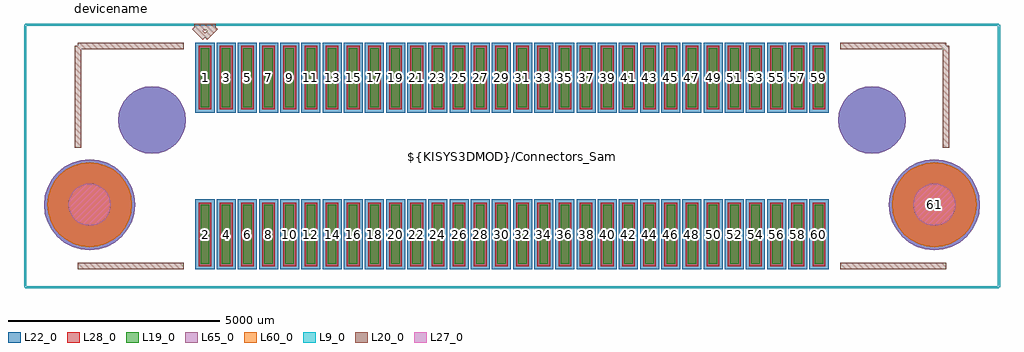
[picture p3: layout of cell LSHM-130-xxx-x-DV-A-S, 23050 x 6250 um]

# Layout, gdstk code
import gdstk
lib = gdstk.Library(unit=1e-6, precision=1e-09)
def R(c, l, rs):  # rectangles x0, y0, x1, y1
    for r in rs: c.add(gdstk.rectangle(r[:2], r[2:], *l))
def A(c, l, x, y, w, h, nx, ny, dx, dy):  # array of equal rectangles
    R(c, l, [(x+i*dx, y+j*dy, x+i*dx+w, y+j*dy+h) for i in range(nx) for j in range(ny)])
def P(c, l, *ps):  # polygons
    for p in ps: c.add(gdstk.Polygon(p, *l))
L9_0 = (9, 0)
L19_0 = (19, 0)
L20_0 = (20, 0)
L22_0 = (22, 0)
L27_0 = (27, 0)
L28_0 = (28, 0)
L60_0 = (60, 0)
L65_0 = (65, 0)

lshm_130_xxx_x_dv_a_s = lib.new_cell('LSHM-130-xxx-x-DV-A-S')
A(lshm_130_xxx_x_dv_a_s, L19_0, -7350, -2550, 200, 1400, 30, 2, 500, 3700)
A(lshm_130_xxx_x_dv_a_s, L22_0, -7475, -2675, 450, 1650, 30, 2, 500, 3700)
P(lshm_130_xxx_x_dv_a_s, L22_0, [(-7700,850),(-7715.372,1006.072),(-7760.896,1156.147),(-7834.824,1294.456),(-7934.315,1415.685),(-8055.544,1515.176),(-8193.853,1589.104),(-8343.928,1634.628),(-8500,1650),(-8656.072,1634.628),(-8806.147,1589.104),(-8944.456,1515.176),(-9065.685,1415.685),(-9165.176,1294.456),(-9239.104,1156.147),(-9284.628,1006.072),(-9300,850),(-9284.628,693.928),(-9239.104,543.853),(-9165.176,405.544),(-9065.685,284.315),(-8944.456,184.824),(-8806.147,110.896),(-8656.072,65.372),(-8500,50),(-8343.928,65.372),(-8193.853,110.896),(-8055.544,184.824),(-7934.315,284.315),(-7834.824,405.544),(-7760.896,543.853),(-7715.372,693.928)],
  [(-8900,-1150),(-8920.656,-940.278),(-8981.83,-738.615),(-9081.17,-552.762),(-9214.86,-389.86),(-9377.762,-256.17),(-9563.615,-156.83),(-9765.278,-95.656),(-9975,-75),(-10184.722,-95.656),(-10386.385,-156.83),(-10572.238,-256.17),(-10735.14,-389.86),(-10868.83,-552.762),(-10968.17,-738.615),(-11029.344,-940.278),(-11050,-1150),(-11029.344,-1359.722),(-10968.17,-1561.385),(-10868.83,-1747.238),(-10735.14,-1910.14),(-10572.238,-2043.83),(-10386.385,-2143.17),(-10184.722,-2204.344),(-9975,-2225),(-9765.278,-2204.344),(-9563.615,-2143.17),(-9377.762,-2043.83),(-9214.86,-1910.14),(-9081.17,-1747.238),(-8981.83,-1561.385),(-8920.656,-1359.722)],
  [(9300,850),(9284.628,1006.072),(9239.104,1156.147),(9165.176,1294.456),(9065.685,1415.685),(8944.456,1515.176),(8806.147,1589.104),(8656.072,1634.628),(8500,1650),(8343.928,1634.628),(8193.853,1589.104),(8055.544,1515.176),(7934.315,1415.685),(7834.824,1294.456),(7760.896,1156.147),(7715.372,1006.072),(7700,850),(7715.372,693.928),(7760.896,543.853),(7834.824,405.544),(7934.315,284.315),(8055.544,184.824),(8193.853,110.896),(8343.928,65.372),(8500,50),(8656.072,65.372),(8806.147,110.896),(8944.456,184.824),(9065.685,284.315),(9165.176,405.544),(9239.104,543.853),(9284.628,693.928)],
  [(11050,-1150),(11029.344,-940.278),(10968.17,-738.615),(10868.83,-552.762),(10735.14,-389.86),(10572.238,-256.17),(10386.385,-156.83),(10184.722,-95.656),(9975,-75),(9765.278,-95.656),(9563.615,-156.83),(9377.762,-256.17),(9214.86,-389.86),(9081.17,-552.762),(8981.83,-738.615),(8920.656,-940.278),(8900,-1150),(8920.656,-1359.722),(8981.83,-1561.385),(9081.17,-1747.238),(9214.86,-1910.14),(9377.762,-2043.83),(9563.615,-2143.17),(9765.278,-2204.344),(9975,-2225),(10184.722,-2204.344),(10386.385,-2143.17),(10572.238,-2043.83),(10735.14,-1910.14),(10868.83,-1747.238),(10968.17,-1561.385),(11029.344,-1359.722)])
P(lshm_130_xxx_x_dv_a_s, L27_0, [(-9475.001,-1150),(-9484.608,-1052.455),(-9513.061,-958.659),(-9559.266,-872.215),(-9621.447,-796.447),(-9697.215,-734.266),(-9783.659,-688.061),(-9877.455,-659.608),(-9975,-650.001),(-10072.545,-659.608),(-10166.341,-688.061),(-10252.785,-734.266),(-10328.553,-796.447),(-10390.734,-872.215),(-10436.939,-958.659),(-10465.392,-1052.455),(-10474.999,-1150),(-10465.392,-1247.545),(-10436.939,-1341.341),(-10390.734,-1427.785),(-10328.553,-1503.553),(-10252.785,-1565.734),(-10166.341,-1611.939),(-10072.545,-1640.392),(-9975,-1649.999),(-9877.455,-1640.392),(-9783.659,-1611.939),(-9697.215,-1565.734),(-9621.447,-1503.553),(-9559.266,-1427.785),(-9513.061,-1341.341),(-9484.608,-1247.545)],
  [(10474.999,-1150),(10465.392,-1052.455),(10436.939,-958.659),(10390.734,-872.215),(10328.553,-796.447),(10252.785,-734.266),(10166.341,-688.061),(10072.545,-659.608),(9975,-650.001),(9877.455,-659.608),(9783.659,-688.061),(9697.215,-734.266),(9621.447,-796.447),(9559.266,-872.215),(9513.061,-958.659),(9484.608,-1052.455),(9475.001,-1150),(9484.608,-1247.545),(9513.061,-1341.341),(9559.266,-1427.785),(9621.447,-1503.553),(9697.215,-1565.734),(9783.659,-1611.939),(9877.455,-1640.392),(9975,-1649.999),(10072.545,-1640.392),(10166.341,-1611.939),(10252.785,-1565.734),(10328.553,-1503.553),(10390.734,-1427.785),(10436.939,-1341.341),(10465.392,-1247.545)])
A(lshm_130_xxx_x_dv_a_s, L28_0, -7400, -2600, 300, 1500, 30, 2, 500, 3700)
P(lshm_130_xxx_x_dv_a_s, L28_0, [(-8975,-1150),(-8994.215,-954.91),(-9051.12,-767.317),(-9143.53,-594.43),(-9267.893,-442.893),(-9419.43,-318.53),(-9592.317,-226.12),(-9779.91,-169.215),(-9975,-150),(-10170.09,-169.215),(-10357.683,-226.12),(-10530.57,-318.53),(-10682.107,-442.893),(-10806.47,-594.43),(-10898.88,-767.317),(-10955.785,-954.91),(-10975,-1150),(-10955.785,-1345.09),(-10898.88,-1532.683),(-10806.47,-1705.57),(-10682.107,-1857.107),(-10530.57,-1981.47),(-10357.683,-2073.88),(-10170.09,-2130.785),(-9975,-2150),(-9779.91,-2130.785),(-9592.317,-2073.88),(-9419.43,-1981.47),(-9267.893,-1857.107),(-9143.53,-1705.57),(-9051.12,-1532.683),(-8994.215,-1345.09)],
  [(10975,-1150),(10955.785,-954.91),(10898.88,-767.317),(10806.47,-594.43),(10682.107,-442.893),(10530.57,-318.53),(10357.683,-226.12),(10170.09,-169.215),(9975,-150),(9779.91,-169.215),(9592.317,-226.12),(9419.43,-318.53),(9267.893,-442.893),(9143.53,-594.43),(9051.12,-767.317),(8994.215,-954.91),(8975,-1150),(8994.215,-1345.09),(9051.12,-1532.683),(9143.53,-1705.57),(9267.893,-1857.107),(9419.43,-1981.47),(9592.317,-2073.88),(9779.91,-2130.785),(9975,-2150),(10170.09,-2130.785),(10357.683,-2073.88),(10530.57,-1981.47),(10682.107,-1857.107),(10806.47,-1705.57),(10898.88,-1532.683),(10955.785,-1345.09)])
P(lshm_130_xxx_x_dv_a_s, L60_0, [(-8975,-1150),(-8994.215,-954.91),(-9051.12,-767.317),(-9143.53,-594.43),(-9267.893,-442.893),(-9419.43,-318.53),(-9592.317,-226.12),(-9779.91,-169.215),(-9975,-150),(-10170.09,-169.215),(-10357.683,-226.12),(-10530.57,-318.53),(-10682.107,-442.893),(-10806.47,-594.43),(-10898.88,-767.317),(-10955.785,-954.91),(-10975,-1150),(-10955.785,-1345.09),(-10898.88,-1532.683),(-10806.47,-1705.57),(-10682.107,-1857.107),(-10530.57,-1981.47),(-10357.683,-2073.88),(-10170.09,-2130.785),(-9975,-2150),(-9779.91,-2130.785),(-9592.317,-2073.88),(-9419.43,-1981.47),(-9267.893,-1857.107),(-9143.53,-1705.57),(-9051.12,-1532.683),(-8994.215,-1345.09)],
  [(10975,-1150),(10955.785,-954.91),(10898.88,-767.317),(10806.47,-594.43),(10682.107,-442.893),(10530.57,-318.53),(10357.683,-226.12),(10170.09,-169.215),(9975,-150),(9779.91,-169.215),(9592.317,-226.12),(9419.43,-318.53),(9267.893,-442.893),(9143.53,-594.43),(9051.12,-767.317),(8994.215,-954.91),(8975,-1150),(8994.215,-1345.09),(9051.12,-1532.683),(9143.53,-1705.57),(9267.893,-1857.107),(9419.43,-1981.47),(9592.317,-2073.88),(9779.91,-2130.785),(9975,-2150),(10170.09,-2130.785),(10357.683,-2073.88),(10530.57,-1981.47),(10682.107,-1857.107),(10806.47,-1705.57),(10898.88,-1532.683),(10955.785,-1345.09)])
P(lshm_130_xxx_x_dv_a_s, L65_0, [(-7700,850),(-7715.372,1006.072),(-7760.896,1156.147),(-7834.824,1294.456),(-7934.315,1415.685),(-8055.544,1515.176),(-8193.853,1589.104),(-8343.928,1634.628),(-8500,1650),(-8656.072,1634.628),(-8806.147,1589.104),(-8944.456,1515.176),(-9065.685,1415.685),(-9165.176,1294.456),(-9239.104,1156.147),(-9284.628,1006.072),(-9300,850),(-9284.628,693.928),(-9239.104,543.853),(-9165.176,405.544),(-9065.685,284.315),(-8944.456,184.824),(-8806.147,110.896),(-8656.072,65.372),(-8500,50),(-8343.928,65.372),(-8193.853,110.896),(-8055.544,184.824),(-7934.315,284.315),(-7834.824,405.544),(-7760.896,543.853),(-7715.372,693.928)],
  [(-8900,-1150),(-8920.656,-940.278),(-8981.83,-738.615),(-9081.17,-552.762),(-9214.86,-389.86),(-9377.762,-256.17),(-9563.615,-156.83),(-9765.278,-95.656),(-9975,-75),(-10184.722,-95.656),(-10386.385,-156.83),(-10572.238,-256.17),(-10735.14,-389.86),(-10868.83,-552.762),(-10968.17,-738.615),(-11029.344,-940.278),(-11050,-1150),(-11029.344,-1359.722),(-10968.17,-1561.385),(-10868.83,-1747.238),(-10735.14,-1910.14),(-10572.238,-2043.83),(-10386.385,-2143.17),(-10184.722,-2204.344),(-9975,-2225),(-9765.278,-2204.344),(-9563.615,-2143.17),(-9377.762,-2043.83),(-9214.86,-1910.14),(-9081.17,-1747.238),(-8981.83,-1561.385),(-8920.656,-1359.722)],
  [(9300,850),(9284.628,1006.072),(9239.104,1156.147),(9165.176,1294.456),(9065.685,1415.685),(8944.456,1515.176),(8806.147,1589.104),(8656.072,1634.628),(8500,1650),(8343.928,1634.628),(8193.853,1589.104),(8055.544,1515.176),(7934.315,1415.685),(7834.824,1294.456),(7760.896,1156.147),(7715.372,1006.072),(7700,850),(7715.372,693.928),(7760.896,543.853),(7834.824,405.544),(7934.315,284.315),(8055.544,184.824),(8193.853,110.896),(8343.928,65.372),(8500,50),(8656.072,65.372),(8806.147,110.896),(8944.456,184.824),(9065.685,284.315),(9165.176,405.544),(9239.104,543.853),(9284.628,693.928)],
  [(11050,-1150),(11029.344,-940.278),(10968.17,-738.615),(10868.83,-552.762),(10735.14,-389.86),(10572.238,-256.17),(10386.385,-156.83),(10184.722,-95.656),(9975,-75),(9765.278,-95.656),(9563.615,-156.83),(9377.762,-256.17),(9214.86,-389.86),(9081.17,-552.762),(8981.83,-738.615),(8920.656,-940.278),(8900,-1150),(8920.656,-1359.722),(8981.83,-1561.385),(9081.17,-1747.238),(9214.86,-1910.14),(9377.762,-2043.83),(9563.615,-2143.17),(9765.278,-2204.344),(9975,-2225),(10184.722,-2204.344),(10386.385,-2143.17),(10572.238,-2043.83),(10735.14,-1910.14),(10868.83,-1747.238),(10968.17,-1561.385),(11029.344,-1359.722)])
lshm_130_xxx_x_dv_a_s.add(gdstk.FlexPath([(10250,-2600),(7750,-2600)], 149.998, ends="flush", simple_path=True, layer=20, datatype=0))  # L20_0
lshm_130_xxx_x_dv_a_s.add(gdstk.FlexPath([(-10250,-2600),(-7750,-2600)], 149.998, ends="flush", simple_path=True, layer=20, datatype=0))  # L20_0
lshm_130_xxx_x_dv_a_s.add(gdstk.FlexPath([(10250,200),(10250,2600)], 149.998, ends="flush", simple_path=True, layer=20, datatype=0))  # L20_0
lshm_130_xxx_x_dv_a_s.add(gdstk.FlexPath([(10250,2600),(7750,2600)], 149.998, ends="flush", simple_path=True, layer=20, datatype=0))  # L20_0
lshm_130_xxx_x_dv_a_s.add(gdstk.FlexPath([(-10250,2600),(-7750,2600)], 149.998, ends="flush", simple_path=True, layer=20, datatype=0))  # L20_0
lshm_130_xxx_x_dv_a_s.add(gdstk.FlexPath([(-10250,200),(-10250,2600)], 149.998, ends="flush", simple_path=True, layer=20, datatype=0))  # L20_0
lshm_130_xxx_x_dv_a_s.add(gdstk.FlexPath([(11500,-3100),(11500,3100)], 50, ends="flush", simple_path=True, layer=9, datatype=0))  # L9_0
lshm_130_xxx_x_dv_a_s.add(gdstk.FlexPath([(-11500,-3100),(-11500,3100)], 50, ends="flush", simple_path=True, layer=9, datatype=0))  # L9_0
lshm_130_xxx_x_dv_a_s.add(gdstk.FlexPath([(-11500,3100),(11500,3100)], 50, ends="flush", simple_path=True, layer=9, datatype=0))  # L9_0
lshm_130_xxx_x_dv_a_s.add(gdstk.FlexPath([(-11500,-3100),(11500,-3100)], 50, ends="flush", simple_path=True, layer=9, datatype=0))  # L9_0
lshm_130_xxx_x_dv_a_s.add(gdstk.FlexPath([(-7250,2800),(-7000,3050)], 149.998, ends="flush", simple_path=True, layer=20, datatype=0))  # L20_0
lshm_130_xxx_x_dv_a_s.add(gdstk.FlexPath([(-7000,3050),(-7500,3050)], 149.998, ends="flush", simple_path=True, layer=20, datatype=0))  # L20_0
lshm_130_xxx_x_dv_a_s.add(gdstk.FlexPath([(-7500,3050),(-7250,2800)], 149.998, ends="flush", simple_path=True, layer=20, datatype=0))  # L20_0
lshm_130_xxx_x_dv_a_s.add(gdstk.Label('${KISYS3DMOD}/Connectors_Samtec.3dshapes/LSHM-130-xxx-x-DV-A-S.wrl', (0,0), layer=12, texttype=0))
lshm_130_xxx_x_dv_a_s.add(gdstk.Label('2', (-7250,-1850), layer=28, texttype=0))
lshm_130_xxx_x_dv_a_s.add(gdstk.Label('1', (-7250,1850), layer=28, texttype=0))
lshm_130_xxx_x_dv_a_s.add(gdstk.Label('3', (-6750,1850), layer=28, texttype=0))
lshm_130_xxx_x_dv_a_s.add(gdstk.Label('4', (-6750,-1850), layer=28, texttype=0))
lshm_130_xxx_x_dv_a_s.add(gdstk.Label('8', (-5750,-1850), layer=28, texttype=0))
lshm_130_xxx_x_dv_a_s.add(gdstk.Label('7', (-5750,1850), layer=28, texttype=0))
lshm_130_xxx_x_dv_a_s.add(gdstk.Label('5', (-6250,1850), layer=28, texttype=0))
lshm_130_xxx_x_dv_a_s.add(gdstk.Label('6', (-6250,-1850), layer=28, texttype=0))
lshm_130_xxx_x_dv_a_s.add(gdstk.Label('14', (-4250,-1850), layer=28, texttype=0))
lshm_130_xxx_x_dv_a_s.add(gdstk.Label('13', (-4250,1850), layer=28, texttype=0))
lshm_130_xxx_x_dv_a_s.add(gdstk.Label('15', (-3750,1850), layer=28, texttype=0))
lshm_130_xxx_x_dv_a_s.add(gdstk.Label('16', (-3750,-1850), layer=28, texttype=0))
lshm_130_xxx_x_dv_a_s.add(gdstk.Label('12', (-4750,-1850), layer=28, texttype=0))
lshm_130_xxx_x_dv_a_s.add(gdstk.Label('11', (-4750,1850), layer=28, texttype=0))
lshm_130_xxx_x_dv_a_s.add(gdstk.Label('9', (-5250,1850), layer=28, texttype=0))
lshm_130_xxx_x_dv_a_s.add(gdstk.Label('10', (-5250,-1850), layer=28, texttype=0))
lshm_130_xxx_x_dv_a_s.add(gdstk.Label('26', (-1250,-1850), layer=28, texttype=0))
lshm_130_xxx_x_dv_a_s.add(gdstk.Label('25', (-1250,1850), layer=28, texttype=0))
lshm_130_xxx_x_dv_a_s.add(gdstk.Label('27', (-750,1850), layer=28, texttype=0))
lshm_130_xxx_x_dv_a_s.add(gdstk.Label('28', (-750,-1850), layer=28, texttype=0))
lshm_130_xxx_x_dv_a_s.add(gdstk.Label('32', (250,-1850), layer=28, texttype=0))
lshm_130_xxx_x_dv_a_s.add(gdstk.Label('31', (250,1850), layer=28, texttype=0))
lshm_130_xxx_x_dv_a_s.add(gdstk.Label('29', (-250,1850), layer=28, texttype=0))
lshm_130_xxx_x_dv_a_s.add(gdstk.Label('30', (-250,-1850), layer=28, texttype=0))
lshm_130_xxx_x_dv_a_s.add(gdstk.Label('22', (-2250,-1850), layer=28, texttype=0))
lshm_130_xxx_x_dv_a_s.add(gdstk.Label('21', (-2250,1850), layer=28, texttype=0))
lshm_130_xxx_x_dv_a_s.add(gdstk.Label('23', (-1750,1850), layer=28, texttype=0))
lshm_130_xxx_x_dv_a_s.add(gdstk.Label('24', (-1750,-1850), layer=28, texttype=0))
lshm_130_xxx_x_dv_a_s.add(gdstk.Label('20', (-2750,-1850), layer=28, texttype=0))
lshm_130_xxx_x_dv_a_s.add(gdstk.Label('19', (-2750,1850), layer=28, texttype=0))
lshm_130_xxx_x_dv_a_s.add(gdstk.Label('17', (-3250,1850), layer=28, texttype=0))
lshm_130_xxx_x_dv_a_s.add(gdstk.Label('18', (-3250,-1850), layer=28, texttype=0))
lshm_130_xxx_x_dv_a_s.add(gdstk.Label('38', (1750,-1850), layer=28, texttype=0))
lshm_130_xxx_x_dv_a_s.add(gdstk.Label('37', (1750,1850), layer=28, texttype=0))
lshm_130_xxx_x_dv_a_s.add(gdstk.Label('39', (2250,1850), layer=28, texttype=0))
lshm_130_xxx_x_dv_a_s.add(gdstk.Label('40', (2250,-1850), layer=28, texttype=0))
lshm_130_xxx_x_dv_a_s.add(gdstk.Label('36', (1250,-1850), layer=28, texttype=0))
lshm_130_xxx_x_dv_a_s.add(gdstk.Label('35', (1250,1850), layer=28, texttype=0))
lshm_130_xxx_x_dv_a_s.add(gdstk.Label('33', (750,1850), layer=28, texttype=0))
lshm_130_xxx_x_dv_a_s.add(gdstk.Label('34', (750,-1850), layer=28, texttype=0))
lshm_130_xxx_x_dv_a_s.add(gdstk.Label('54', (5750,-1850), layer=28, texttype=0))
lshm_130_xxx_x_dv_a_s.add(gdstk.Label('53', (5750,1850), layer=28, texttype=0))
lshm_130_xxx_x_dv_a_s.add(gdstk.Label('55', (6250,1850), layer=28, texttype=0))
lshm_130_xxx_x_dv_a_s.add(gdstk.Label('56', (6250,-1850), layer=28, texttype=0))
lshm_130_xxx_x_dv_a_s.add(gdstk.Label('60', (7250,-1850), layer=28, texttype=0))
lshm_130_xxx_x_dv_a_s.add(gdstk.Label('59', (7250,1850), layer=28, texttype=0))
lshm_130_xxx_x_dv_a_s.add(gdstk.Label('57', (6750,1850), layer=28, texttype=0))
lshm_130_xxx_x_dv_a_s.add(gdstk.Label('58', (6750,-1850), layer=28, texttype=0))
lshm_130_xxx_x_dv_a_s.add(gdstk.Label('44', (3250,-1850), layer=28, texttype=0))
lshm_130_xxx_x_dv_a_s.add(gdstk.Label('43', (3250,1850), layer=28, texttype=0))
lshm_130_xxx_x_dv_a_s.add(gdstk.Label('41', (2750,1850), layer=28, texttype=0))
lshm_130_xxx_x_dv_a_s.add(gdstk.Label('42', (2750,-1850), layer=28, texttype=0))
lshm_130_xxx_x_dv_a_s.add(gdstk.Label('50', (4750,-1850), layer=28, texttype=0))
lshm_130_xxx_x_dv_a_s.add(gdstk.Label('49', (4750,1850), layer=28, texttype=0))
lshm_130_xxx_x_dv_a_s.add(gdstk.Label('51', (5250,1850), layer=28, texttype=0))
lshm_130_xxx_x_dv_a_s.add(gdstk.Label('52', (5250,-1850), layer=28, texttype=0))
lshm_130_xxx_x_dv_a_s.add(gdstk.Label('48', (4250,-1850), layer=28, texttype=0))
lshm_130_xxx_x_dv_a_s.add(gdstk.Label('47', (4250,1850), layer=28, texttype=0))
lshm_130_xxx_x_dv_a_s.add(gdstk.Label('45', (3750,1850), layer=28, texttype=0))
lshm_130_xxx_x_dv_a_s.add(gdstk.Label('46', (3750,-1850), layer=28, texttype=0))
lshm_130_xxx_x_dv_a_s.add(gdstk.Label('61', (9975,-1150), layer=28, texttype=0))
lshm_130_xxx_x_dv_a_s.add(gdstk.Label('type', (0,-4000), layer=9, texttype=0))
lshm_130_xxx_x_dv_a_s.add(gdstk.Label('devicename', (-9450,3650), layer=9, texttype=0))

lib.write_gds('LSHM-130-xxx-x-DV-A-S.gds')
